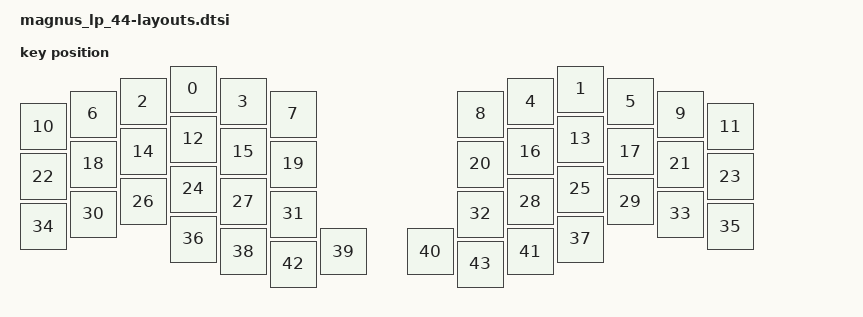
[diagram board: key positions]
#include <physical_layouts.dtsi>

/ {
    physical_layout0: physical_layout_0 {
        compatible = "zmk,physical-layout";
        display-name = "Magnus LP-44";

        kscan = <&kscan0>;
        transform = <&default_transform>;

        keys  //                     w   h    x    y     rot    rx    ry
            = <&key_physical_attrs 100 100  300    0       0     0     0>
            , <&key_physical_attrs 100 100 1075    0       0     0     0>
            , <&key_physical_attrs 100 100  200   25       0     0     0>
            , <&key_physical_attrs 100 100  400   25       0     0     0>
            , <&key_physical_attrs 100 100  975   25       0     0     0>
            , <&key_physical_attrs 100 100 1175   25       0     0     0>
            , <&key_physical_attrs 100 100  100   50       0     0     0>
            , <&key_physical_attrs 100 100  500   50       0     0     0>
            , <&key_physical_attrs 100 100  875   50       0     0     0>
            , <&key_physical_attrs 100 100 1275   50       0     0     0>
            , <&key_physical_attrs 100 100    0   75       0     0     0>
            , <&key_physical_attrs 100 100 1375   75       0     0     0>
            , <&key_physical_attrs 100 100  300  100       0     0     0>
            , <&key_physical_attrs 100 100 1075  100       0     0     0>
            , <&key_physical_attrs 100 100  200  125       0     0     0>
            , <&key_physical_attrs 100 100  400  125       0     0     0>
            , <&key_physical_attrs 100 100  975  125       0     0     0>
            , <&key_physical_attrs 100 100 1175  125       0     0     0>
            , <&key_physical_attrs 100 100  100  150       0     0     0>
            , <&key_physical_attrs 100 100  500  150       0     0     0>
            , <&key_physical_attrs 100 100  875  150       0     0     0>
            , <&key_physical_attrs 100 100 1275  150       0     0     0>
            , <&key_physical_attrs 100 100    0  175       0     0     0>
            , <&key_physical_attrs 100 100 1375  175       0     0     0>
            , <&key_physical_attrs 100 100  300  200       0     0     0>
            , <&key_physical_attrs 100 100 1075  200       0     0     0>
            , <&key_physical_attrs 100 100  200  225       0     0     0>
            , <&key_physical_attrs 100 100  400  225       0     0     0>
            , <&key_physical_attrs 100 100  975  225       0     0     0>
            , <&key_physical_attrs 100 100 1175  225       0     0     0>
            , <&key_physical_attrs 100 100  100  250       0     0     0>
            , <&key_physical_attrs 100 100  500  250       0     0     0>
            , <&key_physical_attrs 100 100  875  250       0     0     0>
            , <&key_physical_attrs 100 100 1275  250       0     0     0>
            , <&key_physical_attrs 100 100    0  275       0     0     0>
            , <&key_physical_attrs 100 100 1375  275       0     0     0>
            , <&key_physical_attrs 100 100  300  300       0     0     0>
            , <&key_physical_attrs 100 100 1075  300       0     0     0>
            , <&key_physical_attrs 100 100  400  325       0     0     0>
            , <&key_physical_attrs 100 100  600  325       0     0     0>
            , <&key_physical_attrs 100 100  775  325       0     0     0>
            , <&key_physical_attrs 100 100  975  325       0     0     0>
            , <&key_physical_attrs 100 100  500  350       0     0     0>
            , <&key_physical_attrs 100 100  875  350       0     0     0>
            ;
    };
};
